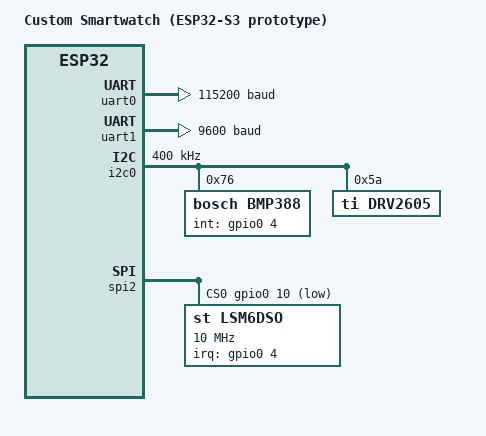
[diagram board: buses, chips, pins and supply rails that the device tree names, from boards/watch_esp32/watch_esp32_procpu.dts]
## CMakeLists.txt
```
cmake_minimum_required(VERSION 3.20.0)
find_package(Zephyr REQUIRED HINTS $ENV{ZEPHYR_BASE})
target_include_directories(app PRIVATE src)
project(smart_watch)

target_sources(app PRIVATE
    src/main.c
    src/events/periodic_events.c
    src/events/imu_events.c
    src/events/baro_events.c
    src/sensors/imu_sensor.c
    src/sensors/baro_sensor.c
)
```

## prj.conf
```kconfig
CONFIG_CONSOLE=y
CONFIG_SERIAL=y
CONFIG_UART_CONSOLE=y
CONFIG_GPIO=y
CONFIG_LOG=y
CONFIG_LOG_BACKEND_UART=y
CONFIG_MAIN_STACK_SIZE=4096
CONFIG_HEAP_MEM_POOL_SIZE=16384

CONFIG_ZBUS=y
CONFIG_ZBUS_CHANNEL_NAME=y

CONFIG_SPI=y
CONFIG_I2C=y
CONFIG_SENSOR=y

CONFIG_LSM6DSO=y
CONFIG_LSM6DSO_TRIGGER_GLOBAL_THREAD=y

CONFIG_BMP388=y

CONFIG_FPU=y
CONFIG_CBPRINTF_FP_SUPPORT=y
CONFIG_PICOLIBC=y
```

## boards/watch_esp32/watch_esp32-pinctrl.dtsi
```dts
#include <zephyr/dt-bindings/pinctrl/esp-pinctrl-common.h>
#include <zephyr/dt-bindings/pinctrl/esp32s3-pinctrl.h>
#include <zephyr/dt-bindings/pinctrl/esp32s3-gpio-sigmap.h>

&pinctrl {
    //Serial Comms
    uart0_default: uart0_default{
        group1 {
            pinmux = <UART0_TX_GPIO43>;
            output-high;
        };
        group2 {
            pinmux = <UART0_RX_GPIO44>;
            bias-pull-up;
        };
    };

    //MAX-M10S
    uart1_default: uart1_default{
        group1 {
            pinmux = <UART1_TX_GPIO17>;
            output-high;
        };
        group2 {
            pinmux = <UART1_RX_GPIO18>;
            bias-pull-up;
        };
    };

    //LSM6DSO, GC9A01
    spim2_default: spim2_default{
        group1 {
            pinmux = <SPIM2_MISO_GPIO13>,
                     <SPIM2_SCLK_GPIO12>;
        };
        group2 {
            pinmux = <SPIM2_MOSI_GPIO11>;
            output-low;
        };
    };

    //BMP388, DRV2605, MAX30105
    i2c0_default: i2c0_default{
        group1 {
            pinmux = <I2C0_SDA_GPIO6>,
                     <I2C0_SCL_GPIO5>;
            bias-pull-up;
            drive-open-drain;
            output-high;
        };
    };
};
```

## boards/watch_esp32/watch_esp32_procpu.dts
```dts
/dts-v1/;
#include <espressif/esp32s3/esp32s3_wroom_n4.dtsi>
#include "watch_esp32-pinctrl.dtsi"
#include <espressif/partitions_0x0_amp.dtsi>
#include <zephyr/dt-bindings/sensor/lsm6dso.h>

/ {
    model = "Custom Smartwatch (ESP32-S3 prototype)";
    compatible = "custom,watch-esp32";

    chosen {
        zephyr,sram = &sram1;
        zephyr,flash = &flash0;
        zephyr,console = &uart0;
        zephyr,shell-uart = &uart0;
        zephyr,code-partition = &slot0_partition;
    };
};

&uart0{
    status = "okay";
    current-speed = <115200>;
    pinctrl-0 = <&uart0_default>;
    pinctrl-names = "default";
};

//GNSS
&uart1{
    status = "okay";
    current-speed = <9600>;
    pinctrl-0 = <&uart1_default>;
    pinctrl-names = "default";
};

&gpio0{
    status = "okay";
};

&gpio1{
    status = "okay";
};

&i2c0{
    status = "okay";
    clock-frequency = <I2C_BITRATE_FAST>;
    pinctrl-0 = <&i2c0_default>;
    pinctrl-names = "default";

    bmp388: bmp388@76 {
        compatible = "bosch,bmp388";
        reg = <0x76>;
        int-gpios = <&gpio0 4 GPIO_ACTIVE_HIGH>;
    };

    drv2605: drv2605@5a {
        compatible = "ti,drv2605";
        reg = <0x5a>;
        actuator-mode = "ERM";
    };
};

&spi2{
    status = "okay";
    #address-cells = <1>;
    #size-cells = <0>;
    pinctrl-0 = <&spim2_default>;
    pinctrl-names = "default";
    cs-gpios = <&gpio0 10 GPIO_ACTIVE_LOW>, //index 0 = IMU CS
               <&gpio0 9  GPIO_ACTIVE_LOW>; //index 1 = Display CS

    lsm6dso: lsm6dso@0 {
        compatible = "st,lsm6dso";
        reg = <0>;
        spi-max-frequency = <10000000>;
        accel-range = <2>;
        accel-odr   = <4>;
        gyro-range  = <6>;
        gyro-odr    = <4>;
        irq-gpios   = <&gpio0 4 GPIO_ACTIVE_HIGH>;
        int-pin     = <1>;
        tap-mode    = <1>;
        tap-threshold = <4>, <4>, <4>;
    };
};
```

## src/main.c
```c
#include <zephyr/kernel.h>
#include <zephyr/logging/log.h>
#include <zephyr/zbus/zbus.h>
#include "events/periodic_events.h"
#include "events/imu_events.h"
#include "events/baro_events.h"

LOG_MODULE_REGISTER(main, LOG_LEVEL_INF);

static void on_imu_data(const struct zbus_channel *chan)
{
    const struct imu_data_event *e = zbus_chan_const_msg(chan);
    LOG_INF("IMU | Accel: %.2f %.2f %.2f | Gyro: %.2f %.2f %.2f",
        (double)e->accel_x, (double)e->accel_y, (double)e->accel_z,
        (double)e->gyro_x,  (double)e->gyro_y,  (double)e->gyro_z);
}

static void on_baro_data(const struct zbus_channel *chan)
{
    const struct baro_data_event *e = zbus_chan_const_msg(chan);
    LOG_INF("BARO | %.2f hPa | %.1f m | %.2f C",
        (double)e->pressure_hpa,
        (double)e->altitude_m,
        (double)e->temperature_c);
}

ZBUS_LISTENER_DEFINE(main_imu_listener,  on_imu_data);
ZBUS_LISTENER_DEFINE(main_baro_listener, on_baro_data);
ZBUS_CHAN_ADD_OBS(imu_data_chan,  main_imu_listener,  0);
ZBUS_CHAN_ADD_OBS(baro_data_chan, main_baro_listener, 0);

int main(void)
{
    LOG_INF("Zephyr RTOS Booting on Custom Smartwatch...");
    return 0;
}
```
